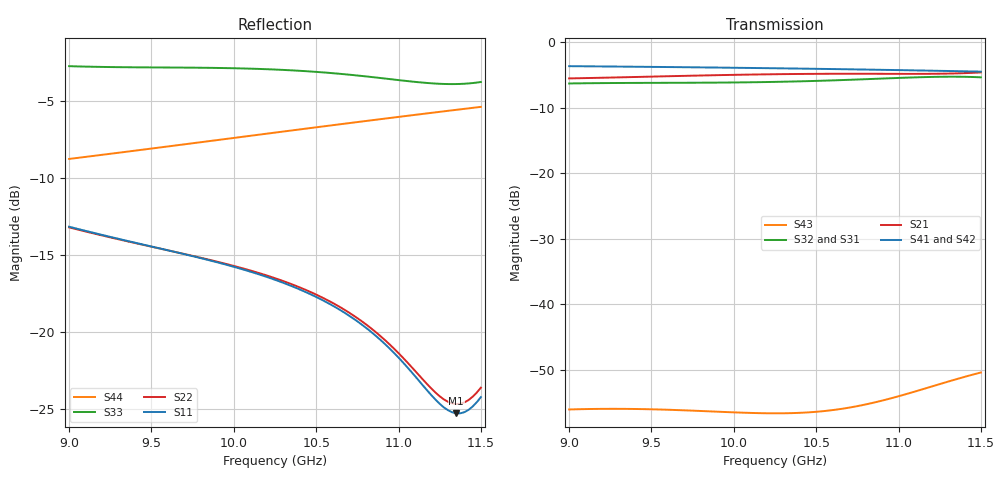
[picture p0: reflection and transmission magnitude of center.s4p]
! Generated from PyAEDT SolutionData; AEDT ExportNetworkData workaround
# GHz S MA R 50
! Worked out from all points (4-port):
!   101 points, 9 GHz to 11.5 GHz, reference 50 ohm
!   strongest paths, dB at 9 GHz, 9.625 GHz, 10.25 GHz, 10.88 GHz, 11.5 GHz:
!     S41: -3.6, -3.8, -3.9, -4.2, -4.5
!     S42: -3.6, -3.8, -4.0, -4.2, -4.5
!     S21: -5.5, -5.1, -4.9, -4.8, -4.6
!     S32: -6.3, -6.2, -6.0, -5.5, -5.3
!     S31: -6.3, -6.2, -6.1, -5.6, -5.4
!     S43: -56.0, -56.1, -56.6, -54.8, -50.4
!   lowest |S11| = -25.3 dB at 11.35 GHz (marker M1), VSWR 1.12, Z = 54 - j4.06 ohm
!   |S11| at or under -10 dB: start of sweep to end of sweep
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9  0.2195 157.5  0.5315 -170.5  0.4848 -75.7  0.659 45.7
   0.5315 -170.5  0.2184 158.0  0.4864 -75.5  0.6582 -134.0
   0.4848 -75.7  0.4864 -75.5  0.7269 -151.6  0.001581 -29.0
   0.659 45.7  0.6582 -134.0  0.001581 -29.0  0.3639 -116.2
9.55  0.1867 100.3  0.5504 129.1  0.4898 -167.4  0.6499 -16.6
      0.5504 129.1  0.1866 101.0  0.4917 -167.1  0.6485 163.6
      0.4898 -167.4  0.4917 -167.1  0.72 83.5  0.00158 -126.3
      0.6499 -16.6  0.6485 163.6  0.00158 -126.3  0.3963 -175.1
10.2  0.151 33.8  0.571 60.2  0.4962 88.4  0.6364 -86.9
      0.571 60.2  0.1526 35.0  0.4987 88.7  0.634 93.4
      0.4962 88.4  0.4987 88.7  0.7106 -57.7  0.001479 130.2
      0.6364 -86.9  0.634 93.4  0.001479 130.2  0.4394 117.6
10.75  0.1084 -21.3  0.5767 4.3  0.5181 0.5  0.6223 -144.5
       0.5767 4.3  0.111 -19.2  0.5213 0.8  0.6191 35.9
       0.5181 0.5  0.5213 0.8  0.6781 -179.1  0.001676 53.8
       0.6223 -144.5  0.6191 35.9  0.001676 53.8  0.4791 61.7
11.075  0.07466 -46.0  0.5757 -27.0  0.5363 -53.6  0.6127 -178.0
        0.5757 -27.0  0.07754 -42.9  0.54 -53.3  0.6091 2.6
        0.5363 -53.6  0.54 -53.3  0.6487 102.0  0.002122 5.1
        0.6127 -178.0  0.6091 2.6  0.002122 5.1  0.5036 28.9
11.35  0.05459 -43.4  0.5804 -51.8  0.5436 -102.1  0.6038 153.9
       0.5804 -51.8  0.05848 -40.2  0.5475 -101.8  0.5999 -25.5
       0.5436 -102.1  0.5475 -101.8  0.6362 27.0  0.002688 -43.0
       0.6038 153.9  0.5999 -25.5  0.002688 -43.0  0.5249 1.3
11.5  0.06159 -35.0  0.5904 -64.8  0.5378 -129.7  0.5987 138.6
      0.5904 -64.8  0.06608 -32.9  0.5417 -129.5  0.5947 -40.7
      0.5378 -129.7  0.5417 -129.5  0.646 -17.3  0.003027 -72.0
      0.5987 138.6  0.5947 -40.7  0.003027 -72.0  0.5366 -13.8
